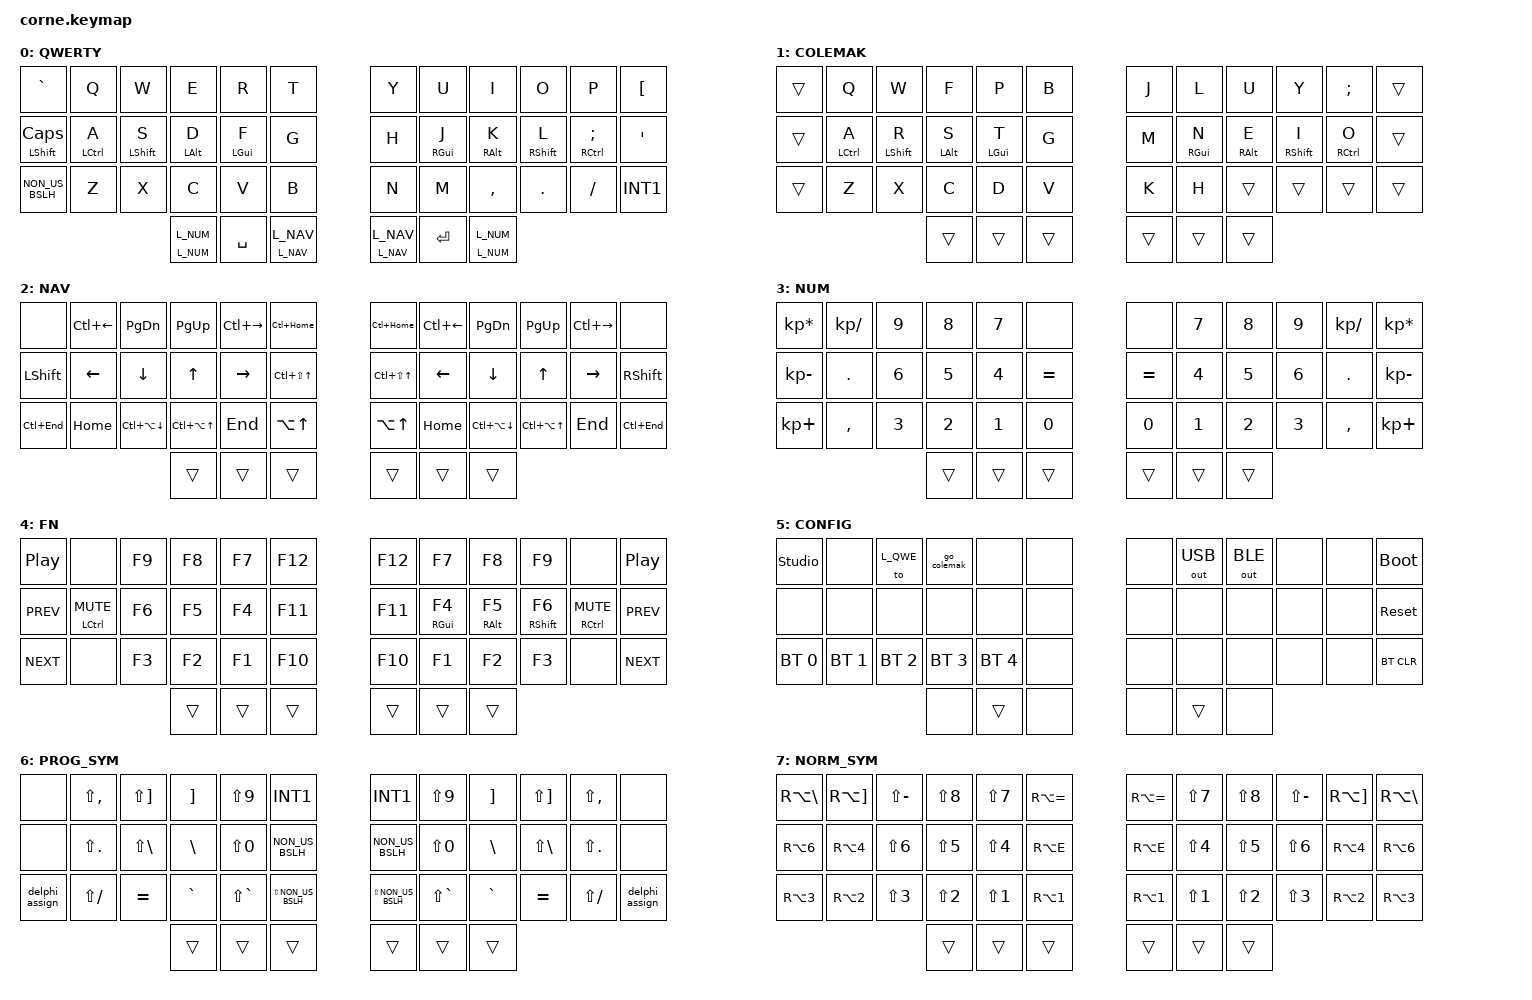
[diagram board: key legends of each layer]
/*
 * corne.keymap — Layout para Delphi + uso geral
 * SO alvo: Windows em Português (Brasil) ABNT2.
 *
 * Arquitetura:
 *   0 QWERTY (base default)        4 FN       (F1-F12 nas posições dos números)
 *   1 COLEMAK-DH (toggle por cima) 5 CONFIG   (BT/reset/boot/studio/troca de base)
 *   2 NAV (fluxo por coluna)       6 PROG_SYM (símbolos de programação)
 *   3 NUM (numpad espelhado)       7 NORM_SYM (shift-núm + AltGr)
 *
 * Mapa de posições:
 *    0  1  2  3  4  5      6  7  8  9 10 11
 *   12 13 14 15 16 17     18 19 20 21 22 23
 *   24 25 26 27 28 29     30 31 32 33 34 35
 *            36 37 38     39 40 41
 */

#include <behaviors.dtsi>
#include <dt-bindings/zmk/bt.h>
#include <dt-bindings/zmk/keys.h>
#include <dt-bindings/zmk/outputs.h>

/* ===================== Layers ===================== */

#define L_QWE  0
#define L_CLM  1
#define L_NAV  2
#define L_NUM  3
#define L_FN   4
#define L_CFG  5
#define L_PSYM 6
#define L_NSYM 7

/* ============ ABNT2: scancodes US reinterpretados pelo Windows PT-BR ============ */
/* Validar em hardware com o SO em "Português (Brasil) ABNT2".                      */

#define PT_SQT   GRAVE            /* '  (shift: ")            */
#define PT_DQT   LS(GRAVE)        /* "                        */
#define PT_ACUT  LBKT             /* ´ morta (shift: ` morta) */
#define PT_GRV   LS(LBKT)         /* ` morta                  */
#define PT_TILD  SQT              /* ~ morta (shift: ^ morta) */
#define PT_CIRC  LS(SQT)          /* ^ morta                  */
#define PT_DIAE  LS(N6)           /* ¨ morta                  */
#define PT_CCED  SEMI             /* ç                        */
#define PT_SEMI  FSLH             /* ;  (shift: :)            */
#define PT_COLN  LS(FSLH)         /* :                        */
#define PT_FSLH  INT1             /* /  (shift: ?)            */
#define PT_QUES  LS(INT1)         /* ?                        */
#define PT_BSLH  NON_US_BSLH      /* \  (shift: |)            */
#define PT_PIPE  LS(NON_US_BSLH)  /* |                        */
#define PT_LBKT  RBKT             /* [                        */
#define PT_LBRC  LS(RBKT)         /* {                        */
#define PT_RBKT  BSLH             /* ]                        */
#define PT_RBRC  LS(BSLH)         /* }                        */
#define PT_LT    LS(COMMA)        /* <                        */
#define PT_GT    LS(DOT)          /* >                        */
#define PT_UNDS  LS(MINUS)        /* _                        */
#define PT_PLUS  LS(EQUAL)        /* +                        */
#define PT_EXCL  LS(N1)           /* !                        */
#define PT_AT    LS(N2)           /* @                        */
#define PT_HASH  LS(N3)           /* #                        */
#define PT_DLR   LS(N4)           /* $                        */
#define PT_PERC  LS(N5)           /* %                        */
#define PT_AMPS  LS(N7)           /* &                        */
#define PT_ASTR  LS(N8)           /* *                        */
#define PT_LPAR  LS(N9)           /* (                        */
#define PT_RPAR  LS(N0)           /* )                        */
#define PT_SUP1  RA(N1)           /* ¹                        */
#define PT_SUP2  RA(N2)           /* ²                        */
#define PT_SUP3  RA(N3)           /* ³                        */
#define PT_PND   RA(N4)           /* £                        */
#define PT_CENT  RA(N5)           /* ¢ (reservado p/ futuro)  */
#define PT_NOT   RA(N6)           /* ¬                        */
#define PT_SECT  RA(EQUAL)        /* §                        */
#define PT_FORD  RA(RBKT)         /* ª                        */
#define PT_MORD  RA(BSLH)         /* º                        */
#define PT_DEG   RA(E)            /* ° (conferir em hardware) */

/* ============ Atalhos Delphi (ajustar conforme IDE/CnPack) ============ */

#define DX_INTF_IMPL  LC(LS(UP))    /* alterna interface <-> implementation     */
#define DX_METH_UP    LC(LA(UP))    /* método anterior                          */
#define DX_METH_DN    LC(LA(DOWN))  /* próximo método                           */
#define DX_GOTO_IMPL  LA(UP)        /* ir p/ implementação/definição do método  */
#define DX_MOVE_UP    LS(LA(UP))    /* mover linha/seleção acima (CnPack)       */
#define DX_MOVE_DN    LS(LA(DOWN))  /* mover linha/seleção abaixo (CnPack)      */

/* ============ Helper de combos ============ */

#define COMBO(NAME, BINDING, KEYPOS, TERM, IDLE)  \
    combo_##NAME {                                \
        bindings = <BINDING>;                     \
        key-positions = <KEYPOS>;                 \
        timeout-ms = <TERM>;                      \
        require-prior-idle-ms = <IDLE>;           \
    };

/ {
    behaviors {
        /* Home row mods ESQUERDA: cross-hand + allowlist de teclas-alvo da
         * própria mão (Ctrl/Gui + W R T S D F G Z X C V B com uma mão só). */
        hrl: hrl {
            compatible = "zmk,behavior-hold-tap";
            #binding-cells = <2>;
            bindings = <&kp>, <&kp>;
            flavor = "balanced";
            tapping-term-ms = <250>;
            quick-tap-ms = <175>;
            require-prior-idle-ms = <150>;
            hold-trigger-on-release;
            hold-trigger-key-positions = <
                 6  7  8  9 10 11
                18 19 20 21 22 23
                30 31 32 33 34 35
                36 37 38 39 40 41
                 2  4  5
                14 15 16 17
                25 26 27 28 29
            >;
        };

        /* Home row mods DIREITA: somente cross-hand (metade esquerda + polegares). */
        hrr: hrr {
            compatible = "zmk,behavior-hold-tap";
            #binding-cells = <2>;
            bindings = <&kp>, <&kp>;
            flavor = "balanced";
            tapping-term-ms = <250>;
            quick-tap-ms = <175>;
            require-prior-idle-ms = <150>;
            hold-trigger-on-release;
            hold-trigger-key-positions = <
                 0  1  2  3  4  5
                12 13 14 15 16 17
                24 25 26 27 28 29
                36 37 38 39 40 41
            >;
        };

        /* Polegar de layer: hold = momentâneo (&mo) / tap = trava (&tog). */
        ht_mo_tog: ht_mo_tog {
            compatible = "zmk,behavior-hold-tap";
            #binding-cells = <2>;
            bindings = <&mo>, <&tog>;
            flavor = "hold-preferred";
            tapping-term-ms = <200>;
            hold-while-undecided;
        };

        /* Toggles unidirecionais — base do base_reset e do GoTo COLEMAK. */
        tog_on: tog_on {
            compatible = "zmk,behavior-toggle-layer";
            #binding-cells = <1>;
            toggle-mode = "on";
        };

        tog_off: tog_off {
            compatible = "zmk,behavior-toggle-layer";
            #binding-cells = <1>;
            toggle-mode = "off";
        };
    };

    macros {
        /* := (atribuição Pascal) */
        delphi_assign: delphi_assign {
            compatible = "zmk,behavior-macro";
            #binding-cells = <0>;
            wait-ms = <5>;
            tap-ms = <5>;
            bindings = <&kp PT_COLN &kp EQUAL>;
        };

        /* Desliga TODAS as layers de função, preservando a base ativa
         * (QWERTY ou COLEMAK). Combo 14+16 / 19+21.                     */
        base_reset: base_reset {
            compatible = "zmk,behavior-macro";
            #binding-cells = <0>;
            wait-ms = <0>;
            tap-ms = <0>;
            bindings = <&tog_off L_NAV &tog_off L_NUM &tog_off L_FN
                        &tog_off L_CFG &tog_off L_PSYM &tog_off L_NSYM>;
        };

        /* GoTo COLEMAK: limpa tudo e liga a base COLEMAK. */
        go_colemak: go_colemak {
            compatible = "zmk,behavior-macro";
            #binding-cells = <0>;
            wait-ms = <0>;
            tap-ms = <0>;
            bindings = <&to L_QWE &tog_on L_CLM>;
        };
    };

    combos {
        compatible = "zmk,combos";

        /* ---------- Acesso a layers (trava; sair = mesmo combo ou base) ---------- */
        COMBO(lyr_base_l, &base_reset,  14 16, 30, 150)
        COMBO(lyr_base_r, &base_reset,  19 21, 30, 150)
        COMBO(lyr_num_l,  &tog L_NUM,    2  4, 30, 150)
        COMBO(lyr_num_r,  &tog L_NUM,    7  9, 30, 150)
        COMBO(lyr_nav_l,  &tog L_NAV,   26 28, 30, 150)
        COMBO(lyr_nav_r,  &tog L_NAV,   31 33, 30, 150)
        COMBO(lyr_nsym_l, &tog L_NSYM,   3  5, 30, 150)
        COMBO(lyr_nsym_r, &tog L_NSYM,   6  8, 30, 150)
        COMBO(lyr_psym_l, &tog L_PSYM,  15 17, 30, 150)
        COMBO(lyr_psym_r, &tog L_PSYM,  18 20, 30, 150)
        COMBO(lyr_fn_l,   &tog L_FN,    27 29, 30, 150)
        COMBO(lyr_fn_r,   &tog L_FN,    30 32, 30, 150)
        COMBO(lyr_cfg,    &tog L_CFG,    0 11, 50, 150)

        /* ---------- Edição (home row + verticais do indicador) ---------- */
        COMBO(tab_l,  &kp TAB,      13 14, 40, 150)
        COMBO(tab_r,  &kp TAB,      21 22, 40, 150)
        COMBO(del_l,  &kp DEL,      14 15, 40, 150)
        COMBO(del_r,  &kp DEL,      20 21, 40, 150)
        COMBO(bksp_l, &kp BSPC,     15 16, 40, 150)
        COMBO(bksp_r, &kp BSPC,     19 20, 40, 150)
        COMBO(stab_l, &kp LS(TAB),  16 17, 40, 150)
        COMBO(stab_r, &kp LS(TAB),  18 19, 40, 150)
        COMBO(esc_l,  &kp ESC,       5 17, 40, 150)
        COMBO(esc_r,  &kp ESC,       6 18, 40, 150)
        COMBO(ent_l,  &kp RET,       4 16, 40, 150)
        COMBO(ent_r,  &kp RET,       7 19, 40, 150)

        /* ---------- Janelas / abas (row superior) ---------- */
        COMBO(wintab_l, &kp LG(TAB),       4 5,   30, 150)
        COMBO(wintab_r, &kp LG(TAB),       6 7,   30, 150)
        /* Direcionais seguem o sentido físico: par mais à esquerda = aba ← */
        COMBO(ptab_l,   &kp LC(LS(TAB)),   2 3,   30, 150)
        COMBO(ptab_r,   &kp LC(LS(TAB)),   7 8,   30, 150)
        COMBO(ntab_l,   &kp LC(TAB),       3 4,   30, 150)
        COMBO(ntab_r,   &kp LC(TAB),       8 9,   30, 150)
        COMBO(alttab_l, &kp LA(TAB),       2 3 4, 30, 150)
        COMBO(alttab_r, &kp LA(TAB),       7 8 9, 30, 150)

        /* ---------- Delphi (tudo na row inferior + polegares) ----------
         * Par adjacente = comando base; par + polegar INTERNO (38/39) =
         * variante com modificador; par + Space/Enter (37/40) = mover linha. */
        COMBO(f9_l,   &kp F9,        28 29,    40, 150)  /* Debugar / continuar    */
        COMBO(f9_r,   &kp F9,        30 31,    40, 150)
        COMBO(cf9_l,  &kp LC(F9),    38 28 29, 50, 150)  /* Compilar               */
        COMBO(cf9_r,  &kp LC(F9),    39 30 31, 50, 150)
        COMBO(f8_l,   &kp F8,        27 28,    40, 150)  /* Step over              */
        COMBO(f8_r,   &kp F8,        31 32,    40, 150)
        COMBO(sf8_l,  &kp LS(F8),    38 27 28, 50, 150)  /* Executar até retorno   */
        COMBO(sf8_r,  &kp LS(F8),    39 31 32, 50, 150)
        COMBO(f7_l,   &kp F7,        26 27,    40, 150)  /* Step into              */
        COMBO(f7_r,   &kp F7,        32 33,    40, 150)
        COMBO(cf7_l,  &kp LC(F7),    38 26 27, 50, 150)  /* Avaliar / modificar    */
        COMBO(cf7_r,  &kp LC(F7),    39 32 33, 50, 150)
        COMBO(af5_l,  &kp LA(F5),    25 26,    40, 150)  /* Inspecionar            */
        COMBO(af5_r,  &kp LA(F5),    33 34,    40, 150)
        COMBO(csa_l,  &kp LC(LS(A)), 38 25 26, 50, 150)  /* Add unit ao uses       */
        COMBO(csa_r,  &kp LC(LS(A)), 39 33 34, 50, 150)
        COMBO(cal_l,  &kp LC(LA(L)), 24 25,    40, 150)  /* Renomear (CnPack)      */
        COMBO(cal_r,  &kp LC(LA(L)), 34 35,    40, 150)
        COMBO(mvup_l, &kp DX_MOVE_UP, 37 26 27, 50, 150) /* Mover linha acima      */
        COMBO(mvup_r, &kp DX_MOVE_UP, 40 32 33, 50, 150)
        COMBO(mvdn_l, &kp DX_MOVE_DN, 37 27 28, 50, 150) /* Mover linha abaixo     */
        COMBO(mvdn_r, &kp DX_MOVE_DN, 40 31 32, 50, 150)

        /* ---------- Thumb-chords: PROG_SYM (polegar interno 38/39) ----------
         * Mesmas posições da layer PROG_SYM — muscle memory transfere.       */
        COMBO(pr_slash_r, &kp PT_FSLH,    39 6,  40, 100)
        COMBO(pr_lpar_r,  &kp PT_LPAR,    39 7,  40, 100)
        COMBO(pr_lbkt_r,  &kp PT_LBKT,    39 8,  40, 100)
        COMBO(pr_lbrc_r,  &kp PT_LBRC,    39 9,  40, 100)
        COMBO(pr_lt_r,    &kp PT_LT,      39 10, 40, 100)
        COMBO(pr_bslh_r,  &kp PT_BSLH,    39 18, 40, 100)
        COMBO(pr_rpar_r,  &kp PT_RPAR,    39 19, 40, 100)
        COMBO(pr_rbkt_r,  &kp PT_RBKT,    39 20, 40, 100)
        COMBO(pr_rbrc_r,  &kp PT_RBRC,    39 21, 40, 100)
        COMBO(pr_gt_r,    &kp PT_GT,      39 22, 40, 100)
        COMBO(pr_pipe_r,  &kp PT_PIPE,    39 30, 40, 100)
        COMBO(pr_dqt_r,   &kp PT_DQT,     39 31, 40, 100)
        COMBO(pr_sqt_r,   &kp PT_SQT,     39 32, 40, 100)
        COMBO(pr_eq_r,    &kp EQUAL,      39 33, 40, 100)
        COMBO(pr_coln_r,  &kp PT_COLN,    39 34, 40, 100)
        COMBO(pr_asgn_r,  &delphi_assign, 39 35, 40, 100)

        COMBO(pr_slash_l, &kp PT_FSLH,    38 5,  40, 100)
        COMBO(pr_lpar_l,  &kp PT_LPAR,    38 4,  40, 100)
        COMBO(pr_lbkt_l,  &kp PT_LBKT,    38 3,  40, 100)
        COMBO(pr_lbrc_l,  &kp PT_LBRC,    38 2,  40, 100)
        COMBO(pr_lt_l,    &kp PT_LT,      38 1,  40, 100)
        COMBO(pr_bslh_l,  &kp PT_BSLH,    38 17, 40, 100)
        COMBO(pr_rpar_l,  &kp PT_RPAR,    38 16, 40, 100)
        COMBO(pr_rbkt_l,  &kp PT_RBKT,    38 15, 40, 100)
        COMBO(pr_rbrc_l,  &kp PT_RBRC,    38 14, 40, 100)
        COMBO(pr_gt_l,    &kp PT_GT,      38 13, 40, 100)
        COMBO(pr_pipe_l,  &kp PT_PIPE,    38 29, 40, 100)
        COMBO(pr_dqt_l,   &kp PT_DQT,     38 28, 40, 100)
        COMBO(pr_sqt_l,   &kp PT_SQT,     38 27, 40, 100)
        COMBO(pr_eq_l,    &kp EQUAL,      38 26, 40, 100)
        COMBO(pr_coln_l,  &kp PT_COLN,    38 25, 40, 100)
        COMBO(pr_asgn_l,  &delphi_assign, 38 24, 40, 100)

        /* ---------- Thumb-chords: NORM_SYM (polegar externo 36/41) ---------- */
        COMBO(ns_sect_r, &kp PT_SECT, 41 6,  40, 100)
        COMBO(ns_amps_r, &kp PT_AMPS, 41 7,  40, 100)
        COMBO(ns_astr_r, &kp PT_ASTR, 41 8,  40, 100)
        COMBO(ns_unds_r, &kp PT_UNDS, 41 9,  40, 100)
        COMBO(ns_ford_r, &kp PT_FORD, 41 10, 40, 100)
        COMBO(ns_mord_r, &kp PT_MORD, 41 11, 40, 100)
        COMBO(ns_deg_r,  &kp PT_DEG,  41 18, 40, 100)
        COMBO(ns_dlr_r,  &kp PT_DLR,  41 19, 40, 100)
        COMBO(ns_perc_r, &kp PT_PERC, 41 20, 40, 100)
        COMBO(ns_diae_r, &kp PT_DIAE, 41 21, 40, 100)
        COMBO(ns_pnd_r,  &kp PT_PND,  41 22, 40, 100)
        COMBO(ns_not_r,  &kp PT_NOT,  41 23, 40, 100)
        COMBO(ns_sup1_r, &kp PT_SUP1, 41 30, 40, 100)
        COMBO(ns_excl_r, &kp PT_EXCL, 41 31, 40, 100)
        COMBO(ns_at_r,   &kp PT_AT,   41 32, 40, 100)
        COMBO(ns_hash_r, &kp PT_HASH, 41 33, 40, 100)
        COMBO(ns_sup2_r, &kp PT_SUP2, 41 34, 40, 100)
        COMBO(ns_sup3_r, &kp PT_SUP3, 41 35, 40, 100)

        COMBO(ns_sect_l, &kp PT_SECT, 36 5,  40, 100)
        COMBO(ns_amps_l, &kp PT_AMPS, 36 4,  40, 100)
        COMBO(ns_astr_l, &kp PT_ASTR, 36 3,  40, 100)
        COMBO(ns_unds_l, &kp PT_UNDS, 36 2,  40, 100)
        COMBO(ns_ford_l, &kp PT_FORD, 36 1,  40, 100)
        COMBO(ns_mord_l, &kp PT_MORD, 36 0,  40, 100)
        COMBO(ns_deg_l,  &kp PT_DEG,  36 17, 40, 100)
        COMBO(ns_dlr_l,  &kp PT_DLR,  36 16, 40, 100)
        COMBO(ns_perc_l, &kp PT_PERC, 36 15, 40, 100)
        COMBO(ns_diae_l, &kp PT_DIAE, 36 14, 40, 100)
        COMBO(ns_pnd_l,  &kp PT_PND,  36 13, 40, 100)
        COMBO(ns_not_l,  &kp PT_NOT,  36 12, 40, 100)
        COMBO(ns_sup1_l, &kp PT_SUP1, 36 29, 40, 100)
        COMBO(ns_excl_l, &kp PT_EXCL, 36 28, 40, 100)
        COMBO(ns_at_l,   &kp PT_AT,   36 27, 40, 100)
        COMBO(ns_hash_l, &kp PT_HASH, 36 26, 40, 100)
        COMBO(ns_sup2_l, &kp PT_SUP2, 36 25, 40, 100)
        COMBO(ns_sup3_l, &kp PT_SUP3, 36 24, 40, 100)
    };

    keymap {
        compatible = "zmk,keymap";

        qwerty_layer {
            display-name = "QWERTY";
            bindings = <
&kp PT_SQT      &kp Q         &kp W         &kp E        &kp R        &kp T    &kp Y  &kp U        &kp I        &kp O         &kp P               &kp PT_ACUT
&mt LSHFT CAPS  &hrl LCTRL A  &hrl LSHFT S  &hrl LALT D  &hrl LGUI F  &kp G    &kp H  &hrr RGUI J  &hrr RALT K  &hrr RSHFT L  &hrr RCTRL PT_CCED  &kp PT_TILD
&kp PT_BSLH     &kp Z         &kp X         &kp C        &kp V        &kp B    &kp N  &kp M        &kp COMMA    &kp DOT       &kp PT_SEMI         &kp PT_FSLH
              &ht_mo_tog L_NUM L_NUM  &kp SPACE  &ht_mo_tog L_NAV L_NAV    &ht_mo_tog L_NAV L_NAV  &kp RET  &ht_mo_tog L_NUM L_NUM
            >;
        };

        colemak_layer {
            display-name = "COLEMAK";
            bindings = <
&trans  &kp Q         &kp W         &kp F        &kp P        &kp B    &kp J   &kp L        &kp U        &kp Y         &kp PT_CCED   &trans
&trans  &hrl LCTRL A  &hrl LSHFT R  &hrl LALT S  &hrl LGUI T  &kp G    &kp M   &hrr RGUI N  &hrr RALT E  &hrr RSHFT I  &hrr RCTRL O  &trans
&trans  &kp Z         &kp X         &kp C        &kp D        &kp V    &kp K   &kp H        &trans       &trans        &trans        &trans
                                    &trans       &trans       &trans   &trans  &trans       &trans
            >;
        };

        nav_layer {
            display-name = "NAV";
            bindings = <
&none        &kp LC(LEFT)   &kp PG_DN       &kp PG_UP       &kp LC(RIGHT) &kp LC(HOME)        &kp LC(HOME)      &kp LC(LEFT)  &kp PG_DN       &kp PG_UP       &kp LC(RIGHT)  &none
&kp LSHFT    &kp LEFT       &kp DOWN        &kp UP          &kp RIGHT     &kp DX_INTF_IMPL    &kp DX_INTF_IMPL  &kp LEFT      &kp DOWN        &kp UP          &kp RIGHT      &kp RSHFT
&kp LC(END)  &kp HOME       &kp DX_METH_DN  &kp DX_METH_UP  &kp END       &kp DX_GOTO_IMPL    &kp DX_GOTO_IMPL  &kp HOME      &kp DX_METH_DN  &kp DX_METH_UP  &kp END        &kp LC(END)
                                            &trans          &trans        &trans              &trans            &trans        &trans
            >;
        };

        num_layer {
            display-name = "NUM";
            bindings = <
&kp KP_MULTIPLY  &kp KP_DIVIDE  &kp N9  &kp N8  &kp N7  &none        &none      &kp N7  &kp N8  &kp N9  &kp KP_DIVIDE  &kp KP_MULTIPLY
&kp KP_MINUS     &kp DOT        &kp N6  &kp N5  &kp N4  &kp EQUAL    &kp EQUAL  &kp N4  &kp N5  &kp N6  &kp DOT        &kp KP_MINUS
&kp KP_PLUS      &kp COMMA      &kp N3  &kp N2  &kp N1  &kp N0       &kp N0     &kp N1  &kp N2  &kp N3  &kp COMMA      &kp KP_PLUS
                                        &trans  &trans  &trans       &trans     &trans  &trans
            >;
        };

        fn_layer {
            display-name = "FN";
            bindings = <
&kp C_PP    &none             &kp F9  &kp F8  &kp F7  &kp F12    &kp F12  &kp F7       &kp F8       &kp F9        &none             &kp C_PP
&kp C_PREV  &mt LCTRL C_MUTE  &kp F6  &kp F5  &kp F4  &kp F11    &kp F11  &mt RGUI F4  &mt RALT F5  &mt RSHFT F6  &mt RCTRL C_MUTE  &kp C_PREV
&kp C_NEXT  &none             &kp F3  &kp F2  &kp F1  &kp F10    &kp F10  &kp F1       &kp F2       &kp F3        &none             &kp C_NEXT
                                      &trans  &trans  &trans     &trans   &trans       &trans
            >;
        };

        config_layer {
            display-name = "CONFIG";
            bindings = <
&studio_unlock  &none         &to L_QWE     &go_colemak   &none         &none    &none  &out OUT_USB  &out OUT_BLE  &none  &none  &bootloader
&none           &none         &none         &none         &none         &none    &none  &none         &none         &none  &none  &sys_reset
&bt BT_SEL 0    &bt BT_SEL 1  &bt BT_SEL 2  &bt BT_SEL 3  &bt BT_SEL 4  &none    &none  &none         &none         &none  &none  &bt BT_CLR
                                            &none         &trans        &none    &none  &trans        &none
            >;
        };

        prog_sym_layer {
            display-name = "PROG_SYM";
            bindings = <
&none           &kp PT_LT    &kp PT_LBRC  &kp PT_LBKT  &kp PT_LPAR  &kp PT_FSLH    &kp PT_FSLH  &kp PT_LPAR  &kp PT_LBKT  &kp PT_LBRC  &kp PT_LT    &none
&none           &kp PT_GT    &kp PT_RBRC  &kp PT_RBKT  &kp PT_RPAR  &kp PT_BSLH    &kp PT_BSLH  &kp PT_RPAR  &kp PT_RBKT  &kp PT_RBRC  &kp PT_GT    &none
&delphi_assign  &kp PT_COLN  &kp EQUAL    &kp PT_SQT   &kp PT_DQT   &kp PT_PIPE    &kp PT_PIPE  &kp PT_DQT   &kp PT_SQT   &kp EQUAL    &kp PT_COLN  &delphi_assign
                                          &trans       &trans       &trans         &trans       &trans       &trans
            >;
        };

        norm_sym_layer {
            display-name = "NORM_SYM";
            bindings = <
&kp PT_MORD  &kp PT_FORD  &kp PT_UNDS  &kp PT_ASTR  &kp PT_AMPS  &kp PT_SECT    &kp PT_SECT  &kp PT_AMPS  &kp PT_ASTR  &kp PT_UNDS  &kp PT_FORD  &kp PT_MORD
&kp PT_NOT   &kp PT_PND   &kp PT_DIAE  &kp PT_PERC  &kp PT_DLR   &kp PT_DEG     &kp PT_DEG   &kp PT_DLR   &kp PT_PERC  &kp PT_DIAE  &kp PT_PND   &kp PT_NOT
&kp PT_SUP3  &kp PT_SUP2  &kp PT_HASH  &kp PT_AT    &kp PT_EXCL  &kp PT_SUP1    &kp PT_SUP1  &kp PT_EXCL  &kp PT_AT    &kp PT_HASH  &kp PT_SUP2  &kp PT_SUP3
                                       &trans       &trans       &trans         &trans       &trans       &trans
            >;
        };
    };
};
